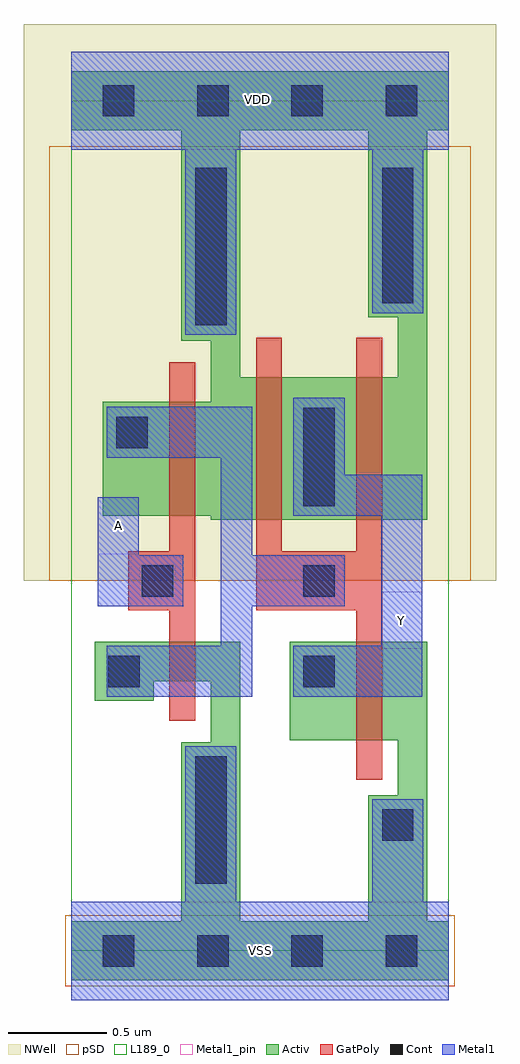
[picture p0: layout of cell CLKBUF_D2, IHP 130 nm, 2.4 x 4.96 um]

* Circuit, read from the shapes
.subckt CLKBUF_D2 A VDD VSS Y
XM1 VSS A n1 VSS sg13_lv_nmos w=0.2u l=0.13u
XM2 VSS n1 Y VSS sg13_lv_nmos w=0.5u l=0.13u
XM3 VDD A n1 VDD sg13_lv_pmos w=0.58u l=0.13u
XM4 Y n1 VDD VDD sg13_lv_pmos w=0.725u l=0.13u m=2
.ends

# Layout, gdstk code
import gdstk
lib = gdstk.Library(unit=1e-6, precision=1e-09)
def R(c, l, rs):  # rectangles x0, y0, x1, y1
    for r in rs: c.add(gdstk.rectangle(r[:2], r[2:], *l))
def A(c, l, x, y, w, h, nx, ny, dx, dy):  # array of equal rectangles
    R(c, l, [(x+i*dx, y+j*dy, x+i*dx+w, y+j*dy+h) for i in range(nx) for j in range(ny)])
def P(c, l, *ps):  # polygons
    for p in ps: c.add(gdstk.Polygon(p, *l))
Activ = (1, 0)
GatPoly = (5, 0)
Cont = (6, 0)
Metal1 = (8, 0)
Metal1_pin = (8, 2)
pSD = (14, 0)
NWell = (31, 0)
L189_0 = (189, 0)

clkbuf_d2 = lib.new_cell('CLKBUF_D2')
P(clkbuf_d2, Activ, [(0,-0.15),(0,0.15),(0.56,0.15),(0.56,1.06),(0.71,1.06),(0.71,1.37),(0.42,1.37),(0.42,1.27),(0.12,1.27),(0.12,1.57),(0.86,1.57),(0.86,0.15),(1.51,0.15),(1.51,0.79),(1.66,0.79),(1.66,1.07),(1.11,1.07),(1.11,1.57),(1.81,1.57),(1.81,0.15),(1.92,0.15),(1.92,-0.15)],
  [(0.71,2.19),(0.71,2.21),(0.16,2.21),(0.16,2.79),(0.71,2.79),(0.71,2.915),(0.86,2.915),(1.66,2.915),(1.66,3.22),(1.51,3.22),(1.51,4.17),(0.86,4.17),(0.86,2.915),(0.71,2.915),(0.71,3.1),(0.56,3.1),(0.56,4.17),(0,4.17),(0,4.47),(1.92,4.47),(1.92,4.17),(1.81,4.17),(1.81,2.19)])
P(clkbuf_d2, GatPoly, [(1.45,0.87),(1.45,1.73),(0.94,1.73),(0.94,2.03),(0.94,3.115),(1.07,3.115),(1.07,2.03),(1.45,2.03),(1.45,3.115),(1.58,3.115),(1.58,0.87)],
  [(0.5,1.17),(0.5,1.73),(0.29,1.73),(0.29,2.03),(0.5,2.03),(0.5,2.99),(0.63,2.99),(0.63,1.17)])
A(clkbuf_d2, Cont, 0.16, -0.08, 0.16, 0.16, 4, 2, 0.48, 4.32)
R(clkbuf_d2, Cont, [(0.63,0.34,0.79,0.99), (1.58,0.56,1.74,0.72), (0.19,1.34,0.35,1.5), (1.18,1.34,1.34,1.5), (0.36,1.8,0.52,1.96), (1.18,1.8,1.34,1.96), (1.18,2.26,1.34,2.76), (0.23,2.555,0.39,2.715), (0.63,3.18,0.79,3.98), (1.58,3.29,1.74,3.98)])
P(clkbuf_d2, Metal1, [(0,-0.25),(0,0.25),(0.58,0.25),(0.58,1.04),(0.84,1.04),(0.84,0.25),(1.53,0.25),(1.53,0.77),(1.79,0.77),(1.79,0.25),(1.92,0.25),(1.92,-0.25)],
  [(0.18,1.29),(0.18,1.55),(0.76,1.55),(0.76,2.505),(0.18,2.505),(0.18,2.765),(0.92,2.765),(0.92,2.01),(1.39,2.01),(1.39,1.75),(0.92,1.75),(0.92,1.29)],
  [(0.58,3.13),(0.58,4.07),(0,4.07),(0,4.57),(1.92,4.57),(1.92,4.07),(1.79,4.07),(1.79,3.24),(1.53,3.24),(1.53,4.07),(0.84,4.07),(0.84,3.13)],
  [(1.13,1.29),(1.13,1.55),(1.575,1.55),(1.575,2.21),(1.13,2.21),(1.13,2.81),(1.39,2.81),(1.39,2.42),(1.785,2.42),(1.785,1.29)],
  [(0.135,1.75),(0.135,2.305),(0.345,2.305),(0.345,2.01),(0.57,2.01),(0.57,1.75)])
R(clkbuf_d2, Metal1_pin, [(0,-0.25,1.92,0.25), (1.575,1.535,1.785,1.825), (0.135,2.015,0.345,2.305), (0,4.07,1.92,4.57)])
R(clkbuf_d2, pSD, [(-0.03,-0.18,1.95,0.18), (-0.11,1.88,2.03,4.09)])
R(clkbuf_d2, NWell, [(-0.24,1.88,2.16,4.71)])
R(clkbuf_d2, L189_0, [(0,0,1.92,4.32)])
clkbuf_d2.add(gdstk.Label('Y', (1.68,1.68), layer=8, texttype=25))
clkbuf_d2.add(gdstk.Label('A', (0.24,2.16), layer=8, texttype=25))
clkbuf_d2.add(gdstk.Label('VDD', (0.945,4.325), layer=8, texttype=25))
clkbuf_d2.add(gdstk.Label('VSS', (0.965,0), layer=8, texttype=25))

lib.write_gds('CLKBUF_D2.gds')
